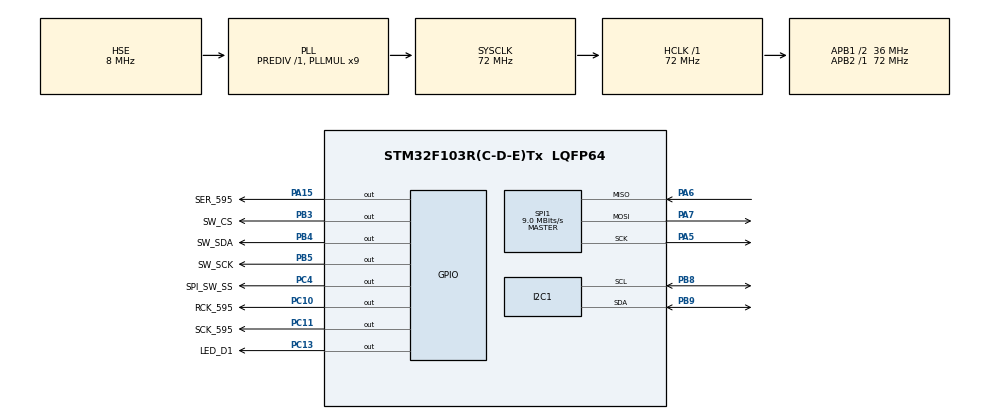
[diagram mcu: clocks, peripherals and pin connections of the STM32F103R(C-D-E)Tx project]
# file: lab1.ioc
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Mcu.Family=STM32F1
Mcu.Name=STM32F103R(C-D-E)Tx
Mcu.Package=LQFP64
NVIC.PriorityGroup=NVIC_PRIORITYGROUP_4
NVIC.TIM2_IRQn=true\:1\:0\:true\:false\:true\:true\:true\:true
NVIC.TIM3_IRQn=true\:0\:0\:false\:false\:true\:true\:true\:true
NVIC.TIM5_IRQn=true\:0\:0\:false\:false\:true\:true\:true\:true
PA13.Mode=Serial_Wire
PA13.Signal=SYS_JTMS-SWDIO
PA14.Mode=Serial_Wire
PA14.Signal=SYS_JTCK-SWCLK
PA15.GPIO_Label=SER_595
PA15.Signal=GPIO_Output
PA5.Mode=Full_Duplex_Master
PA5.Signal=SPI1_SCK
PA6.Mode=Full_Duplex_Master
PA6.Signal=SPI1_MISO
PA7.Mode=Full_Duplex_Master
PA7.Signal=SPI1_MOSI
PB3.GPIO_Label=SW_CS
PB3.Signal=GPIO_Output
PB4.GPIO_Label=SW_SDA
PB4.Signal=GPIO_Output
PB5.GPIO_Label=SW_SCK
PB5.Signal=GPIO_Output
PB8.Mode=I2C
PB8.Signal=I2C1_SCL
PB9.Mode=I2C
PB9.Signal=I2C1_SDA
PC10.GPIO_Label=RCK_595
PC10.Signal=GPIO_Output
PC11.GPIO_Label=SCK_595
PC11.Signal=GPIO_Output
PC13-TAMPER-RTC.GPIO_Label=LED_D1
PC13-TAMPER-RTC.Signal=GPIO_Output
PC4.GPIO_Label=SPI_SW_SS
PC4.Signal=GPIO_Output
PD0-OSC_IN.Mode=HSE-External-Oscillator
PD0-OSC_IN.Signal=RCC_OSC_IN
PD1-OSC_OUT.Mode=HSE-External-Oscillator
PD1-OSC_OUT.Signal=RCC_OSC_OUT
ProjectManager.HeapSize=0x200
ProjectManager.StackSize=0x400
ProjectManager.TargetToolchain=MDK-ARM V5.32
RCC.AHBFreq_Value=72000000
RCC.APB1CLKDivider=RCC_HCLK_DIV2
RCC.APB1Freq_Value=36000000
RCC.APB1TimFreq_Value=72000000
RCC.APB2Freq_Value=72000000
RCC.APB2TimFreq_Value=72000000
RCC.HCLKFreq_Value=72000000
RCC.PLLMUL=RCC_PLL_MUL9
RCC.PLLSourceVirtual=RCC_PLLSOURCE_HSE
RCC.SYSCLKFreq_VALUE=72000000
RCC.SYSCLKSource=RCC_SYSCLKSOURCE_PLLCLK
RCC.USBFreq_Value=72000000
SPI1.BaudRatePrescaler=SPI_BAUDRATEPRESCALER_8
SPI1.CalculateBaudRate=9.0 MBits/s
SPI1.Direction=SPI_DIRECTION_2LINES
SPI1.Mode=SPI_MODE_MASTER
SPI1.VirtualType=VM_MASTER
TIM2.Period=7200
TIM2.Prescaler=10000
TIM3.Period=720
TIM3.Prescaler=10000
TIM5.Period=720
TIM5.Prescaler=10000
VP_TIM2_VS_ClockSourceINT.Mode=Internal
VP_TIM3_VS_ClockSourceINT.Mode=Internal
VP_TIM5_VS_ClockSourceINT.Mode=Internal
board=custom

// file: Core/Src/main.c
/* USER CODE BEGIN Header */
/**
  ******************************************************************************
  * @file           : main.c
  * @brief          : Main program body
  ******************************************************************************
  * @attention
  *
  * Copyright (c) 2025 STMicroelectronics.
  * All rights reserved.
  *
  * This software is licensed under terms that can be found in the LICENSE file
  * in the root directory of this software component.
  * If no LICENSE file comes with this software, it is provided AS-IS.
  *
  ******************************************************************************
  */
/* USER CODE END Header */
#include "main.h"
#include "i2c.h"
#include "spi.h"
#include "tim.h"
#include "gpio.h"

/* USER CODE BEGIN Includes */
#include "LED.h"
#include "sw_lcd.h"
#include "spi_lcd.h"
#include "i2c_oled.h"
#include "595driver.h"

/* USER CODE END Includes */

/* USER CODE BEGIN PD */
#define HW_SPI
/* USER CODE END PD */

/* USER CODE BEGIN PV */
//extern int LED_status;
/* USER CODE END PV */

void SystemClock_Config(void);

int main(void)
{

  /* USER CODE BEGIN 1 */
  LED_status = 1;
  /* USER CODE END 1 */

  /* MCU Configuration--------------------------------------------------------*/

  /* Reset of all peripherals, Initializes the Flash interface and the Systick. */
  HAL_Init();

  /* Configure the system clock */
  SystemClock_Config();

  /* Initialize all configured peripherals */
  MX_GPIO_Init();
  MX_SPI1_Init();
  MX_TIM2_Init();
  MX_I2C1_Init();
  MX_TIM5_Init();
  MX_TIM3_Init();
  /* USER CODE BEGIN 2 */
	HAL_TIM_Base_Start_IT(&htim2);
	HAL_TIM_Base_Start_IT(&htim3);
	//HAL_TIM_Base_Start_IT(&htim5);

	//初始化外设,屏幕等
	OLED_Init();
	OLED_CLS();
	//

	#ifdef SW_SPI
			InitLcd();
	#endif
	#ifdef HW_SPI
			LCE_init();
	#endif
	HAL_GPIO_WritePin(GPIOC, GPIO_PIN_13, 1);
	OLED_LAB_DISP_name();   //display name & number
  /* USER CODE END 2 */

  /* Infinite loop */
  while (1)
  {

		LAB_595_display();
		#ifdef SW_SPI
			LCD_Display_SW();
		#endif

		#ifdef HW_SPI
			timer();
		#endif
			OLED_LAB_DISP();

		//OLED_LAB_DISP(); // update inerrupt cnt and display
  }
}

void SystemClock_Config(void)
{
  RCC_OscInitTypeDef RCC_OscInitStruct = {0};
  RCC_ClkInitTypeDef RCC_ClkInitStruct = {0};

  /** Initializes the RCC Oscillators according to the specified parameters
  * in the RCC_OscInitTypeDef structure.
  */
  RCC_OscInitStruct.OscillatorType = RCC_OSCILLATORTYPE_HSE;
  RCC_OscInitStruct.HSEState = RCC_HSE_ON;
  RCC_OscInitStruct.HSEPredivValue = RCC_HSE_PREDIV_DIV1;
  RCC_OscInitStruct.HSIState = RCC_HSI_ON;
  RCC_OscInitStruct.PLL.PLLState = RCC_PLL_ON;
  RCC_OscInitStruct.PLL.PLLSource = RCC_PLLSOURCE_HSE;
  RCC_OscInitStruct.PLL.PLLMUL = RCC_PLL_MUL9;
  if (HAL_RCC_OscConfig(&RCC_OscInitStruct) != HAL_OK)
  {
    Error_Handler();
  }

  /** Initializes the CPU, AHB and APB buses clocks
  */
  RCC_ClkInitStruct.ClockType = RCC_CLOCKTYPE_HCLK|RCC_CLOCKTYPE_SYSCLK
                              |RCC_CLOCKTYPE_PCLK1|RCC_CLOCKTYPE_PCLK2;
  RCC_ClkInitStruct.SYSCLKSource = RCC_SYSCLKSOURCE_PLLCLK;
  RCC_ClkInitStruct.AHBCLKDivider = RCC_SYSCLK_DIV1;
  RCC_ClkInitStruct.APB1CLKDivider = RCC_HCLK_DIV2;
  RCC_ClkInitStruct.APB2CLKDivider = RCC_HCLK_DIV1;

  if (HAL_RCC_ClockConfig(&RCC_ClkInitStruct, FLASH_LATENCY_2) != HAL_OK)
  {
    Error_Handler();
  }
}

/* USER CODE BEGIN 4 */
void HAL_TIM_PeriodElapsedCallback(TIM_HandleTypeDef *htim){
	if(htim == &htim2){
		HAL_GPIO_TogglePin(GPIOC, GPIO_PIN_13);

	}
	if(htim == &htim3){
		time += 0.1;
		if(time >= 1000){
			time = 0;
		}
if(inter_cnt > 9999)
			inter_cnt = 0;
		inter_cnt++;
		count[0]++;

		for(int i =0; i < 7; i++){
			if(count[i] > 9){
			count[i] = 0;
			count[i + 1]++;
		}
		// over flow
		if(count[7] > 9){
			for(int k= 0; k < 8; k++){
			count[k] = 0;
			}
		}

		}

		SPI_timer[7]++;
			for(int i =0; i < 7; i++){
			if(SPI_timer[7-i] > '9'){
			SPI_timer[7-i] = '0';
			SPI_timer[6-i]++;
		}
		// over flow
		if(SPI_timer[0] > '9'){
			for(int k= 0; k < 8; k++){
			SPI_timer[k] = '0';
			}
		}

		}
	}
	if(htim == &htim5){
		time595 += 1;
		LAB_595_display();
		time595 = time595 % 8;

	}
}
/* USER CODE END 4 */

void Error_Handler(void)
{
  __disable_irq();
  while (1)
  {
  }
}
